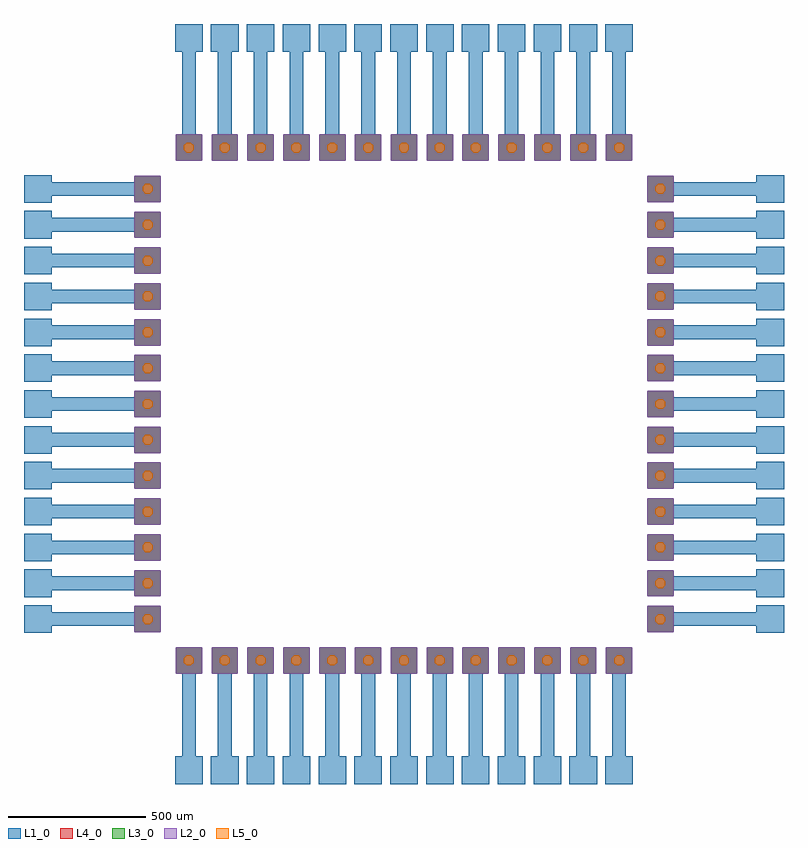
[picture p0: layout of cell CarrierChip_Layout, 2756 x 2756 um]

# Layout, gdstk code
import gdstk
lib = gdstk.Library(unit=1e-6, precision=1e-09)
def R(c, l, rs):  # rectangles x0, y0, x1, y1
    for r in rs: c.add(gdstk.rectangle(r[:2], r[2:], *l))
def A(c, l, x, y, w, h, nx, ny, dx, dy):  # array of equal rectangles
    R(c, l, [(x+i*dx, y+j*dy, x+i*dx+w, y+j*dy+h) for i in range(nx) for j in range(ny)])
def P(c, l, *ps):  # polygons
    for p in ps: c.add(gdstk.Polygon(p, *l))
L1_0 = (1, 0)
L2_0 = (2, 0)
L3_0 = (3, 0)
L4_0 = (4, 0)
L5_0 = (5, 0)

carrierchip_layout = lib.new_cell('CarrierChip_Layout')
A(carrierchip_layout, L1_0, 170, -378, 100, 100, 13, 2, 130, 2656)
A(carrierchip_layout, L1_0, 195, -328, 50, 398, 13, 2, 130, 2258)
A(carrierchip_layout, L1_0, -378, 170, 100, 100, 1, 13, 0, 130)
A(carrierchip_layout, L1_0, 2278, 170, 100, 100, 1, 13, 0, 130)
A(carrierchip_layout, L1_0, -328, 195, 398, 50, 1, 13, 0, 130)
A(carrierchip_layout, L1_0, 1930, 195, 398, 50, 1, 13, 0, 130)
P(carrierchip_layout, L1_0, [(118,173.9),(116.1,172),(23.9,172),(22,173.9),(22,266.1),(23.9,268),(116.1,268),(118,266.1)],
  [(118,303.9),(116.1,302),(23.9,302),(22,303.9),(22,396.1),(23.9,398),(116.1,398),(118,396.1)],
  [(118,433.9),(116.1,432),(23.9,432),(22,433.9),(22,526.1),(23.9,528),(116.1,528),(118,526.1)],
  [(118,563.9),(116.1,562),(23.9,562),(22,563.9),(22,656.1),(23.9,658),(116.1,658),(118,656.1)],
  [(118,693.9),(116.1,692),(23.9,692),(22,693.9),(22,786.1),(23.9,788),(116.1,788),(118,786.1)],
  [(118,823.9),(116.1,822),(23.9,822),(22,823.9),(22,916.1),(23.9,918),(116.1,918),(118,916.1)],
  [(118,953.9),(116.1,952),(23.9,952),(22,953.9),(22,1046.1),(23.9,1048),(116.1,1048),(118,1046.1)],
  [(118,1083.9),(116.1,1082),(23.9,1082),(22,1083.9),(22,1176.1),(23.9,1178),(116.1,1178),(118,1176.1)],
  [(118,1213.9),(116.1,1212),(23.9,1212),(22,1213.9),(22,1306.1),(23.9,1308),(116.1,1308),(118,1306.1)],
  [(118,1343.9),(116.1,1342),(23.9,1342),(22,1343.9),(22,1436.1),(23.9,1438),(116.1,1438),(118,1436.1)],
  [(118,1473.9),(116.1,1472),(23.9,1472),(22,1473.9),(22,1566.1),(23.9,1568),(116.1,1568),(118,1566.1)],
  [(118,1603.9),(116.1,1602),(23.9,1602),(22,1603.9),(22,1696.1),(23.9,1698),(116.1,1698),(118,1696.1)],
  [(118,1733.9),(116.1,1732),(23.9,1732),(22,1733.9),(22,1826.1),(23.9,1828),(116.1,1828),(118,1826.1)],
  [(173.9,22),(172,23.9),(172,116.1),(173.9,118),(266.1,118),(268,116.1),(268,23.9),(266.1,22)],
  [(303.9,22),(302,23.9),(302,116.1),(303.9,118),(396.1,118),(398,116.1),(398,23.9),(396.1,22)],
  [(433.9,22),(432,23.9),(432,116.1),(433.9,118),(526.1,118),(528,116.1),(528,23.9),(526.1,22)],
  [(563.9,22),(562,23.9),(562,116.1),(563.9,118),(656.1,118),(658,116.1),(658,23.9),(656.1,22)],
  [(693.9,22),(692,23.9),(692,116.1),(693.9,118),(786.1,118),(788,116.1),(788,23.9),(786.1,22)],
  [(823.9,22),(822,23.9),(822,116.1),(823.9,118),(916.1,118),(918,116.1),(918,23.9),(916.1,22)],
  [(953.9,22),(952,23.9),(952,116.1),(953.9,118),(1046.1,118),(1048,116.1),(1048,23.9),(1046.1,22)],
  [(1083.9,22),(1082,23.9),(1082,116.1),(1083.9,118),(1176.1,118),(1178,116.1),(1178,23.9),(1176.1,22)],
  [(1213.9,22),(1212,23.9),(1212,116.1),(1213.9,118),(1306.1,118),(1308,116.1),(1308,23.9),(1306.1,22)],
  [(1343.9,22),(1342,23.9),(1342,116.1),(1343.9,118),(1436.1,118),(1438,116.1),(1438,23.9),(1436.1,22)],
  [(1473.9,22),(1472,23.9),(1472,116.1),(1473.9,118),(1566.1,118),(1568,116.1),(1568,23.9),(1566.1,22)],
  [(1603.9,22),(1602,23.9),(1602,116.1),(1603.9,118),(1696.1,118),(1698,116.1),(1698,23.9),(1696.1,22)],
  [(1733.9,22),(1732,23.9),(1732,116.1),(1733.9,118),(1826.1,118),(1828,116.1),(1828,23.9),(1826.1,22)],
  [(1882,1826.1),(1883.9,1828),(1976.1,1828),(1978,1826.1),(1978,1733.9),(1976.1,1732),(1883.9,1732),(1882,1733.9)],
  [(1882,1696.1),(1883.9,1698),(1976.1,1698),(1978,1696.1),(1978,1603.9),(1976.1,1602),(1883.9,1602),(1882,1603.9)],
  [(1882,1566.1),(1883.9,1568),(1976.1,1568),(1978,1566.1),(1978,1473.9),(1976.1,1472),(1883.9,1472),(1882,1473.9)],
  [(1882,1436.1),(1883.9,1438),(1976.1,1438),(1978,1436.1),(1978,1343.9),(1976.1,1342),(1883.9,1342),(1882,1343.9)],
  [(1882,1306.1),(1883.9,1308),(1976.1,1308),(1978,1306.1),(1978,1213.9),(1976.1,1212),(1883.9,1212),(1882,1213.9)],
  [(1882,1176.1),(1883.9,1178),(1976.1,1178),(1978,1176.1),(1978,1083.9),(1976.1,1082),(1883.9,1082),(1882,1083.9)],
  [(1882,1046.1),(1883.9,1048),(1976.1,1048),(1978,1046.1),(1978,953.9),(1976.1,952),(1883.9,952),(1882,953.9)],
  [(1882,916.1),(1883.9,918),(1976.1,918),(1978,916.1),(1978,823.9),(1976.1,822),(1883.9,822),(1882,823.9)],
  [(1882,786.1),(1883.9,788),(1976.1,788),(1978,786.1),(1978,693.9),(1976.1,692),(1883.9,692),(1882,693.9)],
  [(1882,656.1),(1883.9,658),(1976.1,658),(1978,656.1),(1978,563.9),(1976.1,562),(1883.9,562),(1882,563.9)],
  [(1882,526.1),(1883.9,528),(1976.1,528),(1978,526.1),(1978,433.9),(1976.1,432),(1883.9,432),(1882,433.9)],
  [(1882,396.1),(1883.9,398),(1976.1,398),(1978,396.1),(1978,303.9),(1976.1,302),(1883.9,302),(1882,303.9)],
  [(1882,266.1),(1883.9,268),(1976.1,268),(1978,266.1),(1978,173.9),(1976.1,172),(1883.9,172),(1882,173.9)],
  [(1826.1,1978),(1828,1976.1),(1828,1883.9),(1826.1,1882),(1733.9,1882),(1732,1883.9),(1732,1976.1),(1733.9,1978)],
  [(1696.1,1978),(1698,1976.1),(1698,1883.9),(1696.1,1882),(1603.9,1882),(1602,1883.9),(1602,1976.1),(1603.9,1978)],
  [(1566.1,1978),(1568,1976.1),(1568,1883.9),(1566.1,1882),(1473.9,1882),(1472,1883.9),(1472,1976.1),(1473.9,1978)],
  [(1436.1,1978),(1438,1976.1),(1438,1883.9),(1436.1,1882),(1343.9,1882),(1342,1883.9),(1342,1976.1),(1343.9,1978)],
  [(1306.1,1978),(1308,1976.1),(1308,1883.9),(1306.1,1882),(1213.9,1882),(1212,1883.9),(1212,1976.1),(1213.9,1978)],
  [(1176.1,1978),(1178,1976.1),(1178,1883.9),(1176.1,1882),(1083.9,1882),(1082,1883.9),(1082,1976.1),(1083.9,1978)],
  [(1046.1,1978),(1048,1976.1),(1048,1883.9),(1046.1,1882),(953.9,1882),(952,1883.9),(952,1976.1),(953.9,1978)],
  [(916.1,1978),(918,1976.1),(918,1883.9),(916.1,1882),(823.9,1882),(822,1883.9),(822,1976.1),(823.9,1978)],
  [(786.1,1978),(788,1976.1),(788,1883.9),(786.1,1882),(693.9,1882),(692,1883.9),(692,1976.1),(693.9,1978)],
  [(656.1,1978),(658,1976.1),(658,1883.9),(656.1,1882),(563.9,1882),(562,1883.9),(562,1976.1),(563.9,1978)],
  [(526.1,1978),(528,1976.1),(528,1883.9),(526.1,1882),(433.9,1882),(432,1883.9),(432,1976.1),(433.9,1978)],
  [(396.1,1978),(398,1976.1),(398,1883.9),(396.1,1882),(303.9,1882),(302,1883.9),(302,1976.1),(303.9,1978)],
  [(266.1,1978),(268,1976.1),(268,1883.9),(266.1,1882),(173.9,1882),(172,1883.9),(172,1976.1),(173.9,1978)])
P(carrierchip_layout, L2_0, [(118,173.9),(116.1,172),(23.9,172),(22,173.9),(22,266.1),(23.9,268),(116.1,268),(118,266.1)],
  [(118,303.9),(116.1,302),(23.9,302),(22,303.9),(22,396.1),(23.9,398),(116.1,398),(118,396.1)],
  [(118,433.9),(116.1,432),(23.9,432),(22,433.9),(22,526.1),(23.9,528),(116.1,528),(118,526.1)],
  [(118,563.9),(116.1,562),(23.9,562),(22,563.9),(22,656.1),(23.9,658),(116.1,658),(118,656.1)],
  [(118,693.9),(116.1,692),(23.9,692),(22,693.9),(22,786.1),(23.9,788),(116.1,788),(118,786.1)],
  [(118,823.9),(116.1,822),(23.9,822),(22,823.9),(22,916.1),(23.9,918),(116.1,918),(118,916.1)],
  [(118,953.9),(116.1,952),(23.9,952),(22,953.9),(22,1046.1),(23.9,1048),(116.1,1048),(118,1046.1)],
  [(118,1083.9),(116.1,1082),(23.9,1082),(22,1083.9),(22,1176.1),(23.9,1178),(116.1,1178),(118,1176.1)],
  [(118,1213.9),(116.1,1212),(23.9,1212),(22,1213.9),(22,1306.1),(23.9,1308),(116.1,1308),(118,1306.1)],
  [(118,1343.9),(116.1,1342),(23.9,1342),(22,1343.9),(22,1436.1),(23.9,1438),(116.1,1438),(118,1436.1)],
  [(118,1473.9),(116.1,1472),(23.9,1472),(22,1473.9),(22,1566.1),(23.9,1568),(116.1,1568),(118,1566.1)],
  [(118,1603.9),(116.1,1602),(23.9,1602),(22,1603.9),(22,1696.1),(23.9,1698),(116.1,1698),(118,1696.1)],
  [(118,1733.9),(116.1,1732),(23.9,1732),(22,1733.9),(22,1826.1),(23.9,1828),(116.1,1828),(118,1826.1)],
  [(173.9,22),(172,23.9),(172,116.1),(173.9,118),(266.1,118),(268,116.1),(268,23.9),(266.1,22)],
  [(303.9,22),(302,23.9),(302,116.1),(303.9,118),(396.1,118),(398,116.1),(398,23.9),(396.1,22)],
  [(433.9,22),(432,23.9),(432,116.1),(433.9,118),(526.1,118),(528,116.1),(528,23.9),(526.1,22)],
  [(563.9,22),(562,23.9),(562,116.1),(563.9,118),(656.1,118),(658,116.1),(658,23.9),(656.1,22)],
  [(693.9,22),(692,23.9),(692,116.1),(693.9,118),(786.1,118),(788,116.1),(788,23.9),(786.1,22)],
  [(823.9,22),(822,23.9),(822,116.1),(823.9,118),(916.1,118),(918,116.1),(918,23.9),(916.1,22)],
  [(953.9,22),(952,23.9),(952,116.1),(953.9,118),(1046.1,118),(1048,116.1),(1048,23.9),(1046.1,22)],
  [(1083.9,22),(1082,23.9),(1082,116.1),(1083.9,118),(1176.1,118),(1178,116.1),(1178,23.9),(1176.1,22)],
  [(1213.9,22),(1212,23.9),(1212,116.1),(1213.9,118),(1306.1,118),(1308,116.1),(1308,23.9),(1306.1,22)],
  [(1343.9,22),(1342,23.9),(1342,116.1),(1343.9,118),(1436.1,118),(1438,116.1),(1438,23.9),(1436.1,22)],
  [(1473.9,22),(1472,23.9),(1472,116.1),(1473.9,118),(1566.1,118),(1568,116.1),(1568,23.9),(1566.1,22)],
  [(1603.9,22),(1602,23.9),(1602,116.1),(1603.9,118),(1696.1,118),(1698,116.1),(1698,23.9),(1696.1,22)],
  [(1733.9,22),(1732,23.9),(1732,116.1),(1733.9,118),(1826.1,118),(1828,116.1),(1828,23.9),(1826.1,22)],
  [(1882,1826.1),(1883.9,1828),(1976.1,1828),(1978,1826.1),(1978,1733.9),(1976.1,1732),(1883.9,1732),(1882,1733.9)],
  [(1882,1696.1),(1883.9,1698),(1976.1,1698),(1978,1696.1),(1978,1603.9),(1976.1,1602),(1883.9,1602),(1882,1603.9)],
  [(1882,1566.1),(1883.9,1568),(1976.1,1568),(1978,1566.1),(1978,1473.9),(1976.1,1472),(1883.9,1472),(1882,1473.9)],
  [(1882,1436.1),(1883.9,1438),(1976.1,1438),(1978,1436.1),(1978,1343.9),(1976.1,1342),(1883.9,1342),(1882,1343.9)],
  [(1882,1306.1),(1883.9,1308),(1976.1,1308),(1978,1306.1),(1978,1213.9),(1976.1,1212),(1883.9,1212),(1882,1213.9)],
  [(1882,1176.1),(1883.9,1178),(1976.1,1178),(1978,1176.1),(1978,1083.9),(1976.1,1082),(1883.9,1082),(1882,1083.9)],
  [(1882,1046.1),(1883.9,1048),(1976.1,1048),(1978,1046.1),(1978,953.9),(1976.1,952),(1883.9,952),(1882,953.9)],
  [(1882,916.1),(1883.9,918),(1976.1,918),(1978,916.1),(1978,823.9),(1976.1,822),(1883.9,822),(1882,823.9)],
  [(1882,786.1),(1883.9,788),(1976.1,788),(1978,786.1),(1978,693.9),(1976.1,692),(1883.9,692),(1882,693.9)],
  [(1882,656.1),(1883.9,658),(1976.1,658),(1978,656.1),(1978,563.9),(1976.1,562),(1883.9,562),(1882,563.9)],
  [(1882,526.1),(1883.9,528),(1976.1,528),(1978,526.1),(1978,433.9),(1976.1,432),(1883.9,432),(1882,433.9)],
  [(1882,396.1),(1883.9,398),(1976.1,398),(1978,396.1),(1978,303.9),(1976.1,302),(1883.9,302),(1882,303.9)],
  [(1882,266.1),(1883.9,268),(1976.1,268),(1978,266.1),(1978,173.9),(1976.1,172),(1883.9,172),(1882,173.9)],
  [(1826.1,1978),(1828,1976.1),(1828,1883.9),(1826.1,1882),(1733.9,1882),(1732,1883.9),(1732,1976.1),(1733.9,1978)],
  [(1696.1,1978),(1698,1976.1),(1698,1883.9),(1696.1,1882),(1603.9,1882),(1602,1883.9),(1602,1976.1),(1603.9,1978)],
  [(1566.1,1978),(1568,1976.1),(1568,1883.9),(1566.1,1882),(1473.9,1882),(1472,1883.9),(1472,1976.1),(1473.9,1978)],
  [(1436.1,1978),(1438,1976.1),(1438,1883.9),(1436.1,1882),(1343.9,1882),(1342,1883.9),(1342,1976.1),(1343.9,1978)],
  [(1306.1,1978),(1308,1976.1),(1308,1883.9),(1306.1,1882),(1213.9,1882),(1212,1883.9),(1212,1976.1),(1213.9,1978)],
  [(1176.1,1978),(1178,1976.1),(1178,1883.9),(1176.1,1882),(1083.9,1882),(1082,1883.9),(1082,1976.1),(1083.9,1978)],
  [(1046.1,1978),(1048,1976.1),(1048,1883.9),(1046.1,1882),(953.9,1882),(952,1883.9),(952,1976.1),(953.9,1978)],
  [(916.1,1978),(918,1976.1),(918,1883.9),(916.1,1882),(823.9,1882),(822,1883.9),(822,1976.1),(823.9,1978)],
  [(786.1,1978),(788,1976.1),(788,1883.9),(786.1,1882),(693.9,1882),(692,1883.9),(692,1976.1),(693.9,1978)],
  [(656.1,1978),(658,1976.1),(658,1883.9),(656.1,1882),(563.9,1882),(562,1883.9),(562,1976.1),(563.9,1978)],
  [(526.1,1978),(528,1976.1),(528,1883.9),(526.1,1882),(433.9,1882),(432,1883.9),(432,1976.1),(433.9,1978)],
  [(396.1,1978),(398,1976.1),(398,1883.9),(396.1,1882),(303.9,1882),(302,1883.9),(302,1976.1),(303.9,1978)],
  [(266.1,1978),(268,1976.1),(268,1883.9),(266.1,1882),(173.9,1882),(172,1883.9),(172,1976.1),(173.9,1978)])
P(carrierchip_layout, L3_0, [(118,173.9),(116.1,172),(23.9,172),(22,173.9),(22,266.1),(23.9,268),(116.1,268),(118,266.1)],
  [(118,303.9),(116.1,302),(23.9,302),(22,303.9),(22,396.1),(23.9,398),(116.1,398),(118,396.1)],
  [(118,433.9),(116.1,432),(23.9,432),(22,433.9),(22,526.1),(23.9,528),(116.1,528),(118,526.1)],
  [(118,563.9),(116.1,562),(23.9,562),(22,563.9),(22,656.1),(23.9,658),(116.1,658),(118,656.1)],
  [(118,693.9),(116.1,692),(23.9,692),(22,693.9),(22,786.1),(23.9,788),(116.1,788),(118,786.1)],
  [(118,823.9),(116.1,822),(23.9,822),(22,823.9),(22,916.1),(23.9,918),(116.1,918),(118,916.1)],
  [(118,953.9),(116.1,952),(23.9,952),(22,953.9),(22,1046.1),(23.9,1048),(116.1,1048),(118,1046.1)],
  [(118,1083.9),(116.1,1082),(23.9,1082),(22,1083.9),(22,1176.1),(23.9,1178),(116.1,1178),(118,1176.1)],
  [(118,1213.9),(116.1,1212),(23.9,1212),(22,1213.9),(22,1306.1),(23.9,1308),(116.1,1308),(118,1306.1)],
  [(118,1343.9),(116.1,1342),(23.9,1342),(22,1343.9),(22,1436.1),(23.9,1438),(116.1,1438),(118,1436.1)],
  [(118,1473.9),(116.1,1472),(23.9,1472),(22,1473.9),(22,1566.1),(23.9,1568),(116.1,1568),(118,1566.1)],
  [(118,1603.9),(116.1,1602),(23.9,1602),(22,1603.9),(22,1696.1),(23.9,1698),(116.1,1698),(118,1696.1)],
  [(118,1733.9),(116.1,1732),(23.9,1732),(22,1733.9),(22,1826.1),(23.9,1828),(116.1,1828),(118,1826.1)],
  [(173.9,22),(172,23.9),(172,116.1),(173.9,118),(266.1,118),(268,116.1),(268,23.9),(266.1,22)],
  [(303.9,22),(302,23.9),(302,116.1),(303.9,118),(396.1,118),(398,116.1),(398,23.9),(396.1,22)],
  [(433.9,22),(432,23.9),(432,116.1),(433.9,118),(526.1,118),(528,116.1),(528,23.9),(526.1,22)],
  [(563.9,22),(562,23.9),(562,116.1),(563.9,118),(656.1,118),(658,116.1),(658,23.9),(656.1,22)],
  [(693.9,22),(692,23.9),(692,116.1),(693.9,118),(786.1,118),(788,116.1),(788,23.9),(786.1,22)],
  [(823.9,22),(822,23.9),(822,116.1),(823.9,118),(916.1,118),(918,116.1),(918,23.9),(916.1,22)],
  [(953.9,22),(952,23.9),(952,116.1),(953.9,118),(1046.1,118),(1048,116.1),(1048,23.9),(1046.1,22)],
  [(1083.9,22),(1082,23.9),(1082,116.1),(1083.9,118),(1176.1,118),(1178,116.1),(1178,23.9),(1176.1,22)],
  [(1213.9,22),(1212,23.9),(1212,116.1),(1213.9,118),(1306.1,118),(1308,116.1),(1308,23.9),(1306.1,22)],
  [(1343.9,22),(1342,23.9),(1342,116.1),(1343.9,118),(1436.1,118),(1438,116.1),(1438,23.9),(1436.1,22)],
  [(1473.9,22),(1472,23.9),(1472,116.1),(1473.9,118),(1566.1,118),(1568,116.1),(1568,23.9),(1566.1,22)],
  [(1603.9,22),(1602,23.9),(1602,116.1),(1603.9,118),(1696.1,118),(1698,116.1),(1698,23.9),(1696.1,22)],
  [(1733.9,22),(1732,23.9),(1732,116.1),(1733.9,118),(1826.1,118),(1828,116.1),(1828,23.9),(1826.1,22)],
  [(1882,1826.1),(1883.9,1828),(1976.1,1828),(1978,1826.1),(1978,1733.9),(1976.1,1732),(1883.9,1732),(1882,1733.9)],
  [(1882,1696.1),(1883.9,1698),(1976.1,1698),(1978,1696.1),(1978,1603.9),(1976.1,1602),(1883.9,1602),(1882,1603.9)],
  [(1882,1566.1),(1883.9,1568),(1976.1,1568),(1978,1566.1),(1978,1473.9),(1976.1,1472),(1883.9,1472),(1882,1473.9)],
  [(1882,1436.1),(1883.9,1438),(1976.1,1438),(1978,1436.1),(1978,1343.9),(1976.1,1342),(1883.9,1342),(1882,1343.9)],
  [(1882,1306.1),(1883.9,1308),(1976.1,1308),(1978,1306.1),(1978,1213.9),(1976.1,1212),(1883.9,1212),(1882,1213.9)],
  [(1882,1176.1),(1883.9,1178),(1976.1,1178),(1978,1176.1),(1978,1083.9),(1976.1,1082),(1883.9,1082),(1882,1083.9)],
  [(1882,1046.1),(1883.9,1048),(1976.1,1048),(1978,1046.1),(1978,953.9),(1976.1,952),(1883.9,952),(1882,953.9)],
  [(1882,916.1),(1883.9,918),(1976.1,918),(1978,916.1),(1978,823.9),(1976.1,822),(1883.9,822),(1882,823.9)],
  [(1882,786.1),(1883.9,788),(1976.1,788),(1978,786.1),(1978,693.9),(1976.1,692),(1883.9,692),(1882,693.9)],
  [(1882,656.1),(1883.9,658),(1976.1,658),(1978,656.1),(1978,563.9),(1976.1,562),(1883.9,562),(1882,563.9)],
  [(1882,526.1),(1883.9,528),(1976.1,528),(1978,526.1),(1978,433.9),(1976.1,432),(1883.9,432),(1882,433.9)],
  [(1882,396.1),(1883.9,398),(1976.1,398),(1978,396.1),(1978,303.9),(1976.1,302),(1883.9,302),(1882,303.9)],
  [(1882,266.1),(1883.9,268),(1976.1,268),(1978,266.1),(1978,173.9),(1976.1,172),(1883.9,172),(1882,173.9)],
  [(1826.1,1978),(1828,1976.1),(1828,1883.9),(1826.1,1882),(1733.9,1882),(1732,1883.9),(1732,1976.1),(1733.9,1978)],
  [(1696.1,1978),(1698,1976.1),(1698,1883.9),(1696.1,1882),(1603.9,1882),(1602,1883.9),(1602,1976.1),(1603.9,1978)],
  [(1566.1,1978),(1568,1976.1),(1568,1883.9),(1566.1,1882),(1473.9,1882),(1472,1883.9),(1472,1976.1),(1473.9,1978)],
  [(1436.1,1978),(1438,1976.1),(1438,1883.9),(1436.1,1882),(1343.9,1882),(1342,1883.9),(1342,1976.1),(1343.9,1978)],
  [(1306.1,1978),(1308,1976.1),(1308,1883.9),(1306.1,1882),(1213.9,1882),(1212,1883.9),(1212,1976.1),(1213.9,1978)],
  [(1176.1,1978),(1178,1976.1),(1178,1883.9),(1176.1,1882),(1083.9,1882),(1082,1883.9),(1082,1976.1),(1083.9,1978)],
  [(1046.1,1978),(1048,1976.1),(1048,1883.9),(1046.1,1882),(953.9,1882),(952,1883.9),(952,1976.1),(953.9,1978)],
  [(916.1,1978),(918,1976.1),(918,1883.9),(916.1,1882),(823.9,1882),(822,1883.9),(822,1976.1),(823.9,1978)],
  [(786.1,1978),(788,1976.1),(788,1883.9),(786.1,1882),(693.9,1882),(692,1883.9),(692,1976.1),(693.9,1978)],
  [(656.1,1978),(658,1976.1),(658,1883.9),(656.1,1882),(563.9,1882),(562,1883.9),(562,1976.1),(563.9,1978)],
  [(526.1,1978),(528,1976.1),(528,1883.9),(526.1,1882),(433.9,1882),(432,1883.9),(432,1976.1),(433.9,1978)],
  [(396.1,1978),(398,1976.1),(398,1883.9),(396.1,1882),(303.9,1882),(302,1883.9),(302,1976.1),(303.9,1978)],
  [(266.1,1978),(268,1976.1),(268,1883.9),(266.1,1882),(173.9,1882),(172,1883.9),(172,1976.1),(173.9,1978)])
P(carrierchip_layout, L4_0, [(118,173.9),(116.1,172),(23.9,172),(22,173.9),(22,266.1),(23.9,268),(116.1,268),(118,266.1)],
  [(118,303.9),(116.1,302),(23.9,302),(22,303.9),(22,396.1),(23.9,398),(116.1,398),(118,396.1)],
  [(118,433.9),(116.1,432),(23.9,432),(22,433.9),(22,526.1),(23.9,528),(116.1,528),(118,526.1)],
  [(118,563.9),(116.1,562),(23.9,562),(22,563.9),(22,656.1),(23.9,658),(116.1,658),(118,656.1)],
  [(118,693.9),(116.1,692),(23.9,692),(22,693.9),(22,786.1),(23.9,788),(116.1,788),(118,786.1)],
  [(118,823.9),(116.1,822),(23.9,822),(22,823.9),(22,916.1),(23.9,918),(116.1,918),(118,916.1)],
  [(118,953.9),(116.1,952),(23.9,952),(22,953.9),(22,1046.1),(23.9,1048),(116.1,1048),(118,1046.1)],
  [(118,1083.9),(116.1,1082),(23.9,1082),(22,1083.9),(22,1176.1),(23.9,1178),(116.1,1178),(118,1176.1)],
  [(118,1213.9),(116.1,1212),(23.9,1212),(22,1213.9),(22,1306.1),(23.9,1308),(116.1,1308),(118,1306.1)],
  [(118,1343.9),(116.1,1342),(23.9,1342),(22,1343.9),(22,1436.1),(23.9,1438),(116.1,1438),(118,1436.1)],
  [(118,1473.9),(116.1,1472),(23.9,1472),(22,1473.9),(22,1566.1),(23.9,1568),(116.1,1568),(118,1566.1)],
  [(118,1603.9),(116.1,1602),(23.9,1602),(22,1603.9),(22,1696.1),(23.9,1698),(116.1,1698),(118,1696.1)],
  [(118,1733.9),(116.1,1732),(23.9,1732),(22,1733.9),(22,1826.1),(23.9,1828),(116.1,1828),(118,1826.1)],
  [(173.9,22),(172,23.9),(172,116.1),(173.9,118),(266.1,118),(268,116.1),(268,23.9),(266.1,22)],
  [(303.9,22),(302,23.9),(302,116.1),(303.9,118),(396.1,118),(398,116.1),(398,23.9),(396.1,22)],
  [(433.9,22),(432,23.9),(432,116.1),(433.9,118),(526.1,118),(528,116.1),(528,23.9),(526.1,22)],
  [(563.9,22),(562,23.9),(562,116.1),(563.9,118),(656.1,118),(658,116.1),(658,23.9),(656.1,22)],
  [(693.9,22),(692,23.9),(692,116.1),(693.9,118),(786.1,118),(788,116.1),(788,23.9),(786.1,22)],
  [(823.9,22),(822,23.9),(822,116.1),(823.9,118),(916.1,118),(918,116.1),(918,23.9),(916.1,22)],
  [(953.9,22),(952,23.9),(952,116.1),(953.9,118),(1046.1,118),(1048,116.1),(1048,23.9),(1046.1,22)],
  [(1083.9,22),(1082,23.9),(1082,116.1),(1083.9,118),(1176.1,118),(1178,116.1),(1178,23.9),(1176.1,22)],
  [(1213.9,22),(1212,23.9),(1212,116.1),(1213.9,118),(1306.1,118),(1308,116.1),(1308,23.9),(1306.1,22)],
  [(1343.9,22),(1342,23.9),(1342,116.1),(1343.9,118),(1436.1,118),(1438,116.1),(1438,23.9),(1436.1,22)],
  [(1473.9,22),(1472,23.9),(1472,116.1),(1473.9,118),(1566.1,118),(1568,116.1),(1568,23.9),(1566.1,22)],
  [(1603.9,22),(1602,23.9),(1602,116.1),(1603.9,118),(1696.1,118),(1698,116.1),(1698,23.9),(1696.1,22)],
  [(1733.9,22),(1732,23.9),(1732,116.1),(1733.9,118),(1826.1,118),(1828,116.1),(1828,23.9),(1826.1,22)],
  [(1882,1826.1),(1883.9,1828),(1976.1,1828),(1978,1826.1),(1978,1733.9),(1976.1,1732),(1883.9,1732),(1882,1733.9)],
  [(1882,1696.1),(1883.9,1698),(1976.1,1698),(1978,1696.1),(1978,1603.9),(1976.1,1602),(1883.9,1602),(1882,1603.9)],
  [(1882,1566.1),(1883.9,1568),(1976.1,1568),(1978,1566.1),(1978,1473.9),(1976.1,1472),(1883.9,1472),(1882,1473.9)],
  [(1882,1436.1),(1883.9,1438),(1976.1,1438),(1978,1436.1),(1978,1343.9),(1976.1,1342),(1883.9,1342),(1882,1343.9)],
  [(1882,1306.1),(1883.9,1308),(1976.1,1308),(1978,1306.1),(1978,1213.9),(1976.1,1212),(1883.9,1212),(1882,1213.9)],
  [(1882,1176.1),(1883.9,1178),(1976.1,1178),(1978,1176.1),(1978,1083.9),(1976.1,1082),(1883.9,1082),(1882,1083.9)],
  [(1882,1046.1),(1883.9,1048),(1976.1,1048),(1978,1046.1),(1978,953.9),(1976.1,952),(1883.9,952),(1882,953.9)],
  [(1882,916.1),(1883.9,918),(1976.1,918),(1978,916.1),(1978,823.9),(1976.1,822),(1883.9,822),(1882,823.9)],
  [(1882,786.1),(1883.9,788),(1976.1,788),(1978,786.1),(1978,693.9),(1976.1,692),(1883.9,692),(1882,693.9)],
  [(1882,656.1),(1883.9,658),(1976.1,658),(1978,656.1),(1978,563.9),(1976.1,562),(1883.9,562),(1882,563.9)],
  [(1882,526.1),(1883.9,528),(1976.1,528),(1978,526.1),(1978,433.9),(1976.1,432),(1883.9,432),(1882,433.9)],
  [(1882,396.1),(1883.9,398),(1976.1,398),(1978,396.1),(1978,303.9),(1976.1,302),(1883.9,302),(1882,303.9)],
  [(1882,266.1),(1883.9,268),(1976.1,268),(1978,266.1),(1978,173.9),(1976.1,172),(1883.9,172),(1882,173.9)],
  [(1826.1,1978),(1828,1976.1),(1828,1883.9),(1826.1,1882),(1733.9,1882),(1732,1883.9),(1732,1976.1),(1733.9,1978)],
  [(1696.1,1978),(1698,1976.1),(1698,1883.9),(1696.1,1882),(1603.9,1882),(1602,1883.9),(1602,1976.1),(1603.9,1978)],
  [(1566.1,1978),(1568,1976.1),(1568,1883.9),(1566.1,1882),(1473.9,1882),(1472,1883.9),(1472,1976.1),(1473.9,1978)],
  [(1436.1,1978),(1438,1976.1),(1438,1883.9),(1436.1,1882),(1343.9,1882),(1342,1883.9),(1342,1976.1),(1343.9,1978)],
  [(1306.1,1978),(1308,1976.1),(1308,1883.9),(1306.1,1882),(1213.9,1882),(1212,1883.9),(1212,1976.1),(1213.9,1978)],
  [(1176.1,1978),(1178,1976.1),(1178,1883.9),(1176.1,1882),(1083.9,1882),(1082,1883.9),(1082,1976.1),(1083.9,1978)],
  [(1046.1,1978),(1048,1976.1),(1048,1883.9),(1046.1,1882),(953.9,1882),(952,1883.9),(952,1976.1),(953.9,1978)],
  [(916.1,1978),(918,1976.1),(918,1883.9),(916.1,1882),(823.9,1882),(822,1883.9),(822,1976.1),(823.9,1978)],
  [(786.1,1978),(788,1976.1),(788,1883.9),(786.1,1882),(693.9,1882),(692,1883.9),(692,1976.1),(693.9,1978)],
  [(656.1,1978),(658,1976.1),(658,1883.9),(656.1,1882),(563.9,1882),(562,1883.9),(562,1976.1),(563.9,1978)],
  [(526.1,1978),(528,1976.1),(528,1883.9),(526.1,1882),(433.9,1882),(432,1883.9),(432,1976.1),(433.9,1978)],
  [(396.1,1978),(398,1976.1),(398,1883.9),(396.1,1882),(303.9,1882),(302,1883.9),(302,1976.1),(303.9,1978)],
  [(266.1,1978),(268,1976.1),(268,1883.9),(266.1,1882),(173.9,1882),(172,1883.9),(172,1976.1),(173.9,1978)])
P(carrierchip_layout, L5_0, [(77.5,201.893),(88.107,212.5),(88.107,227.5),(77.5,238.107),(62.5,238.107),(51.893,227.5),(51.893,212.5),(62.5,201.893)],
  [(77.5,331.893),(88.107,342.5),(88.107,357.5),(77.5,368.107),(62.5,368.107),(51.893,357.5),(51.893,342.5),(62.5,331.893)],
  [(77.5,461.893),(88.107,472.5),(88.107,487.5),(77.5,498.107),(62.5,498.107),(51.893,487.5),(51.893,472.5),(62.5,461.893)],
  [(77.5,591.893),(88.107,602.5),(88.107,617.5),(77.5,628.107),(62.5,628.107),(51.893,617.5),(51.893,602.5),(62.5,591.893)],
  [(77.5,721.893),(88.107,732.5),(88.107,747.5),(77.5,758.107),(62.5,758.107),(51.893,747.5),(51.893,732.5),(62.5,721.893)],
  [(77.5,851.893),(88.107,862.5),(88.107,877.5),(77.5,888.107),(62.5,888.107),(51.893,877.5),(51.893,862.5),(62.5,851.893)],
  [(77.5,981.893),(88.107,992.5),(88.107,1007.5),(77.5,1018.107),(62.5,1018.107),(51.893,1007.5),(51.893,992.5),(62.5,981.893)],
  [(77.5,1111.893),(88.107,1122.5),(88.107,1137.5),(77.5,1148.107),(62.5,1148.107),(51.893,1137.5),(51.893,1122.5),(62.5,1111.893)],
  [(77.5,1241.893),(88.107,1252.5),(88.107,1267.5),(77.5,1278.107),(62.5,1278.107),(51.893,1267.5),(51.893,1252.5),(62.5,1241.893)],
  [(77.5,1371.893),(88.107,1382.5),(88.107,1397.5),(77.5,1408.107),(62.5,1408.107),(51.893,1397.5),(51.893,1382.5),(62.5,1371.893)],
  [(77.5,1501.893),(88.107,1512.5),(88.107,1527.5),(77.5,1538.107),(62.5,1538.107),(51.893,1527.5),(51.893,1512.5),(62.5,1501.893)],
  [(77.5,1631.893),(88.107,1642.5),(88.107,1657.5),(77.5,1668.107),(62.5,1668.107),(51.893,1657.5),(51.893,1642.5),(62.5,1631.893)],
  [(77.5,1761.893),(88.107,1772.5),(88.107,1787.5),(77.5,1798.107),(62.5,1798.107),(51.893,1787.5),(51.893,1772.5),(62.5,1761.893)],
  [(227.5,51.893),(238.107,62.5),(238.107,77.5),(227.5,88.107),(212.5,88.107),(201.893,77.5),(201.893,62.5),(212.5,51.893)],
  [(357.5,51.893),(368.107,62.5),(368.107,77.5),(357.5,88.107),(342.5,88.107),(331.893,77.5),(331.893,62.5),(342.5,51.893)],
  [(487.5,51.893),(498.107,62.5),(498.107,77.5),(487.5,88.107),(472.5,88.107),(461.893,77.5),(461.893,62.5),(472.5,51.893)],
  [(617.5,51.893),(628.107,62.5),(628.107,77.5),(617.5,88.107),(602.5,88.107),(591.893,77.5),(591.893,62.5),(602.5,51.893)],
  [(747.5,51.893),(758.107,62.5),(758.107,77.5),(747.5,88.107),(732.5,88.107),(721.893,77.5),(721.893,62.5),(732.5,51.893)],
  [(877.5,51.893),(888.107,62.5),(888.107,77.5),(877.5,88.107),(862.5,88.107),(851.893,77.5),(851.893,62.5),(862.5,51.893)],
  [(1007.5,51.893),(1018.107,62.5),(1018.107,77.5),(1007.5,88.107),(992.5,88.107),(981.893,77.5),(981.893,62.5),(992.5,51.893)],
  [(1137.5,51.893),(1148.107,62.5),(1148.107,77.5),(1137.5,88.107),(1122.5,88.107),(1111.893,77.5),(1111.893,62.5),(1122.5,51.893)],
  [(1267.5,51.893),(1278.107,62.5),(1278.107,77.5),(1267.5,88.107),(1252.5,88.107),(1241.893,77.5),(1241.893,62.5),(1252.5,51.893)],
  [(1397.5,51.893),(1408.107,62.5),(1408.107,77.5),(1397.5,88.107),(1382.5,88.107),(1371.893,77.5),(1371.893,62.5),(1382.5,51.893)],
  [(1527.5,51.893),(1538.107,62.5),(1538.107,77.5),(1527.5,88.107),(1512.5,88.107),(1501.893,77.5),(1501.893,62.5),(1512.5,51.893)],
  [(1657.5,51.893),(1668.107,62.5),(1668.107,77.5),(1657.5,88.107),(1642.5,88.107),(1631.893,77.5),(1631.893,62.5),(1642.5,51.893)],
  [(1787.5,51.893),(1798.107,62.5),(1798.107,77.5),(1787.5,88.107),(1772.5,88.107),(1761.893,77.5),(1761.893,62.5),(1772.5,51.893)],
  [(1937.5,1761.893),(1948.107,1772.5),(1948.107,1787.5),(1937.5,1798.107),(1922.5,1798.107),(1911.893,1787.5),(1911.893,1772.5),(1922.5,1761.893)],
  [(1937.5,1631.893),(1948.107,1642.5),(1948.107,1657.5),(1937.5,1668.107),(1922.5,1668.107),(1911.893,1657.5),(1911.893,1642.5),(1922.5,1631.893)],
  [(1937.5,1501.893),(1948.107,1512.5),(1948.107,1527.5),(1937.5,1538.107),(1922.5,1538.107),(1911.893,1527.5),(1911.893,1512.5),(1922.5,1501.893)],
  [(1937.5,1371.893),(1948.107,1382.5),(1948.107,1397.5),(1937.5,1408.107),(1922.5,1408.107),(1911.893,1397.5),(1911.893,1382.5),(1922.5,1371.893)],
  [(1937.5,1241.893),(1948.107,1252.5),(1948.107,1267.5),(1937.5,1278.107),(1922.5,1278.107),(1911.893,1267.5),(1911.893,1252.5),(1922.5,1241.893)],
  [(1937.5,1111.893),(1948.107,1122.5),(1948.107,1137.5),(1937.5,1148.107),(1922.5,1148.107),(1911.893,1137.5),(1911.893,1122.5),(1922.5,1111.893)],
  [(1937.5,981.893),(1948.107,992.5),(1948.107,1007.5),(1937.5,1018.107),(1922.5,1018.107),(1911.893,1007.5),(1911.893,992.5),(1922.5,981.893)],
  [(1937.5,851.893),(1948.107,862.5),(1948.107,877.5),(1937.5,888.107),(1922.5,888.107),(1911.893,877.5),(1911.893,862.5),(1922.5,851.893)],
  [(1937.5,721.893),(1948.107,732.5),(1948.107,747.5),(1937.5,758.107),(1922.5,758.107),(1911.893,747.5),(1911.893,732.5),(1922.5,721.893)],
  [(1937.5,591.893),(1948.107,602.5),(1948.107,617.5),(1937.5,628.107),(1922.5,628.107),(1911.893,617.5),(1911.893,602.5),(1922.5,591.893)],
  [(1937.5,461.893),(1948.107,472.5),(1948.107,487.5),(1937.5,498.107),(1922.5,498.107),(1911.893,487.5),(1911.893,472.5),(1922.5,461.893)],
  [(1937.5,331.893),(1948.107,342.5),(1948.107,357.5),(1937.5,368.107),(1922.5,368.107),(1911.893,357.5),(1911.893,342.5),(1922.5,331.893)],
  [(1937.5,201.893),(1948.107,212.5),(1948.107,227.5),(1937.5,238.107),(1922.5,238.107),(1911.893,227.5),(1911.893,212.5),(1922.5,201.893)],
  [(1787.5,1911.893),(1798.107,1922.5),(1798.107,1937.5),(1787.5,1948.107),(1772.5,1948.107),(1761.893,1937.5),(1761.893,1922.5),(1772.5,1911.893)],
  [(1657.5,1911.893),(1668.107,1922.5),(1668.107,1937.5),(1657.5,1948.107),(1642.5,1948.107),(1631.893,1937.5),(1631.893,1922.5),(1642.5,1911.893)],
  [(1527.5,1911.893),(1538.107,1922.5),(1538.107,1937.5),(1527.5,1948.107),(1512.5,1948.107),(1501.893,1937.5),(1501.893,1922.5),(1512.5,1911.893)],
  [(1397.5,1911.893),(1408.107,1922.5),(1408.107,1937.5),(1397.5,1948.107),(1382.5,1948.107),(1371.893,1937.5),(1371.893,1922.5),(1382.5,1911.893)],
  [(1267.5,1911.893),(1278.107,1922.5),(1278.107,1937.5),(1267.5,1948.107),(1252.5,1948.107),(1241.893,1937.5),(1241.893,1922.5),(1252.5,1911.893)],
  [(1137.5,1911.893),(1148.107,1922.5),(1148.107,1937.5),(1137.5,1948.107),(1122.5,1948.107),(1111.893,1937.5),(1111.893,1922.5),(1122.5,1911.893)],
  [(1007.5,1911.893),(1018.107,1922.5),(1018.107,1937.5),(1007.5,1948.107),(992.5,1948.107),(981.893,1937.5),(981.893,1922.5),(992.5,1911.893)],
  [(877.5,1911.893),(888.107,1922.5),(888.107,1937.5),(877.5,1948.107),(862.5,1948.107),(851.893,1937.5),(851.893,1922.5),(862.5,1911.893)],
  [(747.5,1911.893),(758.107,1922.5),(758.107,1937.5),(747.5,1948.107),(732.5,1948.107),(721.893,1937.5),(721.893,1922.5),(732.5,1911.893)],
  [(617.5,1911.893),(628.107,1922.5),(628.107,1937.5),(617.5,1948.107),(602.5,1948.107),(591.893,1937.5),(591.893,1922.5),(602.5,1911.893)],
  [(487.5,1911.893),(498.107,1922.5),(498.107,1937.5),(487.5,1948.107),(472.5,1948.107),(461.893,1937.5),(461.893,1922.5),(472.5,1911.893)],
  [(357.5,1911.893),(368.107,1922.5),(368.107,1937.5),(357.5,1948.107),(342.5,1948.107),(331.893,1937.5),(331.893,1922.5),(342.5,1911.893)],
  [(227.5,1911.893),(238.107,1922.5),(238.107,1937.5),(227.5,1948.107),(212.5,1948.107),(201.893,1937.5),(201.893,1922.5),(212.5,1911.893)])

lib.write_gds('CarrierChip_Layout.gds')
